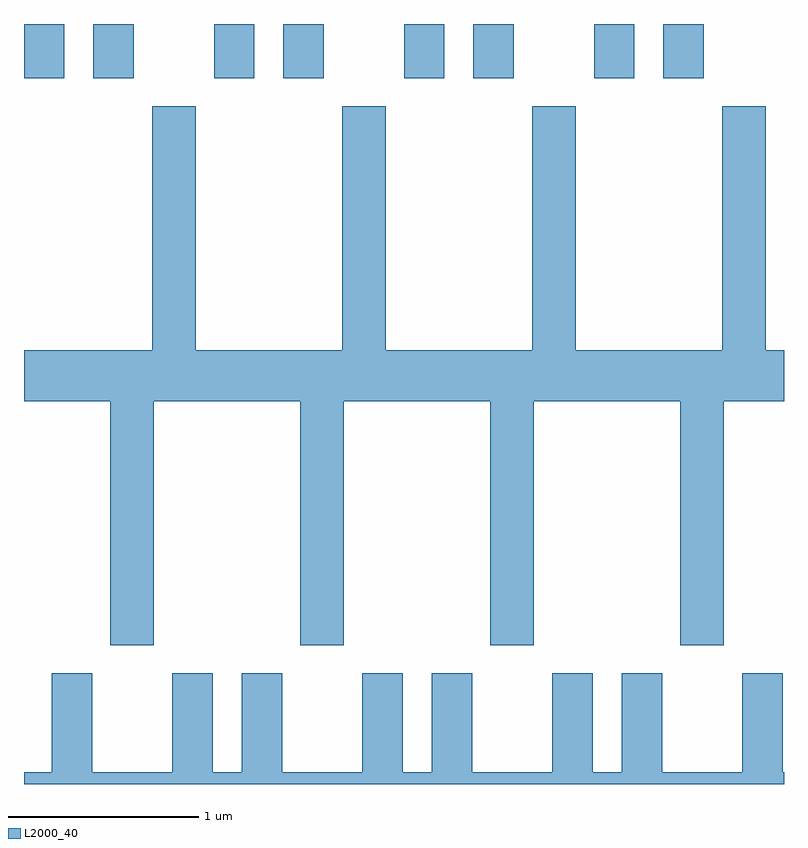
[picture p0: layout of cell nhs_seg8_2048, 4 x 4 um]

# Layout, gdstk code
import gdstk
lib = gdstk.Library(unit=1e-6, precision=1e-09)
def R(c, l, rs):  # rectangles x0, y0, x1, y1
    for r in rs: c.add(gdstk.rectangle(r[:2], r[2:], *l))
def P(c, l, *ps):  # polygons
    for p in ps: c.add(gdstk.Polygon(p, *l))
L2000_40 = (2000, 40)

nhs_seg8_2048 = lib.new_cell('nhs_seg8_2048')
R(nhs_seg8_2048, L2000_40, [(245.611,1898.056,245.824,1898.342), (245.976,1898.056,246.189,1898.342), (246.611,1898.056,246.824,1898.342), (246.976,1898.056,247.189,1898.342), (247.611,1898.056,247.824,1898.342), (247.976,1898.056,248.189,1898.342), (248.611,1898.056,248.824,1898.342), (248.976,1898.056,249.189,1898.342)])
P(nhs_seg8_2048, L2000_40, [(245.611,1896.356),(246.066,1896.356),(246.066,1895.071),(246.294,1895.071),(246.294,1896.356),(247.066,1896.356),(247.066,1895.071),(247.294,1895.071),(247.294,1896.356),(248.066,1896.356),(248.066,1895.071),(248.294,1895.071),(248.294,1896.356),(249.066,1896.356),(249.066,1895.071),(249.294,1895.071),(249.294,1896.356),(249.611,1896.356),(249.611,1896.624),(249.514,1896.624),(249.514,1897.909),(249.286,1897.909),(249.286,1896.624),(248.514,1896.624),(248.514,1897.909),(248.286,1897.909),(248.286,1896.624),(247.514,1896.624),(247.514,1897.909),(247.286,1897.909),(247.286,1896.624),(246.514,1896.624),(246.514,1897.909),(246.286,1897.909),(246.286,1896.624),(245.611,1896.624)],
  [(249.611,1894.404),(249.604,1894.404),(249.604,1894.924),(249.391,1894.924),(249.391,1894.404),(248.969,1894.404),(248.969,1894.924),(248.756,1894.924),(248.756,1894.404),(248.604,1894.404),(248.604,1894.924),(248.391,1894.924),(248.391,1894.404),(247.969,1894.404),(247.969,1894.924),(247.756,1894.924),(247.756,1894.404),(247.604,1894.404),(247.604,1894.924),(247.391,1894.924),(247.391,1894.404),(246.969,1894.404),(246.969,1894.924),(246.756,1894.924),(246.756,1894.404),(246.604,1894.404),(246.604,1894.924),(246.391,1894.924),(246.391,1894.404),(245.969,1894.404),(245.969,1894.924),(245.756,1894.924),(245.756,1894.404),(245.611,1894.404),(245.611,1894.342),(249.611,1894.342)])

lib.write_gds('nhs_seg8_2048.gds')
